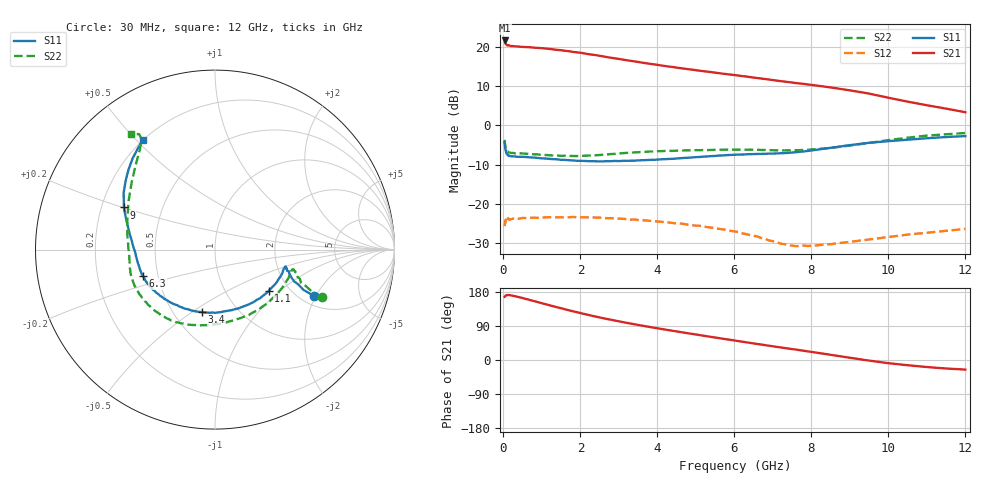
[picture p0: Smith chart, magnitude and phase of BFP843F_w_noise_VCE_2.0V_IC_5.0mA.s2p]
! Infineon Technologies  Discrete & RF Semiconductors
! BFP843F
! VCE =  2.0 V,  IC =  5.0 mA
! Common Emitter S-Parameters:  Aug 2013
# GHz  S  MA  R  50
!  f  S11  S21  S12  S22
! GHz  MAG  ANG  MAG  ANG  MAG  ANG  MAG  ANG
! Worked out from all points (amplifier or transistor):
!   103 points, 30 MHz to 12 GHz, reference 50 ohm
!   highest |S21| = 21.6 dB at 30 MHz (marker M1)
!   |S21| within 3 dB of that: start of sweep to 1.884 GHz
!   unconditionally stable (mu >= 1): 175.5 MHz to 635.6 MHz; 3.608 GHz to end of sweep
!   at 400 MHz: K = 1.01, MAG = 21.3 dB, |S12| = -23.8 dB
!   at 3.7 GHz: K = 1.01, MAG = 19.4 dB, |S12| = -24.2 dB
!   at 12 GHz: K = 1.45, MAG = 10.9 dB, |S12| = -26.4 dB
!   lowest NFmin = 0.82 dB at 450 MHz
!   S11 on the Smith chart (normalised r, x): 30 MHz: 2.35, -1.93; 1.1 GHz: 1.57, -0.85; 3.4 GHz: 0.69, -0.55; 6.3 GHz: 0.41, -0.15; 9 GHz: 0.29, +0.20; 12 GHz: 0.20, +0.52
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0.03  0.609 -25.1  12.02 166.8  0.0521 34.3  0.6527 -23.9
0.04  0.5425 -24.5  11.45 167.3  0.058 25.7  0.5844 -23.3
0.05  0.5013 -22.6  11.01 169.5  0.0573 20.4  0.5412 -21.7
0.07  0.454 -20.1  10.71 170.5  0.0593 17.2  0.5007 -19.0
0.1  0.4285 -16.4  10.41 171.1  0.0614 10.0  0.4635 -16.4
0.15  0.4102 -14.4  10.36 171.3  0.0627 8.8  0.4517 -14.2
0.7  0.3906 -25.2  9.84 158.0  0.0666 0.8  0.432 -28.6
1.1  0.3778 -37.8  9.474 147.1  0.0675 -2.1  0.4188 -43.6
1.6  0.3631 -53.4  8.882 133.8  0.0674 -4.3  0.4102 -62.7
2.1  0.3524 -68.7  8.219 121.4  0.0677 -8.3  0.4099 -80.9
2.4  0.3486 -77.2  7.823 114.5  0.067 -10.2  0.4165 -90.8
2.7  0.35 -84.8  7.353 108.0  0.0658 -12.8  0.4262 -99.1
3.4  0.3547 -101.9  6.514 94.4  0.0634 -16.6  0.4526 -114.9
4.1  0.3698 -117.3  5.775 82.0  0.0594 -20.4  0.4692 -126.8
5  0.3938 -136.0  5.03 67.3  0.0529 -23.8  0.4833 -140.7
6.1  0.4246 -156.3  4.299 49.9  0.044 -26.7  0.4908 -157.2
6.3  0.4275 -159.9  4.187 46.8  0.0413 -26.3  0.4891 -160.3
7.3  0.4431 -176.9  3.603 31.7  0.0308 -17.7  0.479 -175.3
8.5  0.5175 162.2  3.034 13.7  0.0308 4.8  0.5157 161.4
9  0.5597 155.2  2.787 5.9  0.0329 10.5  0.5525 150.6
10.5  0.6562 137.3  2.002 -13.8  0.0407 19.3  0.6967 126.9
12  0.7295 123.5  1.468 -25.3  0.0481 25.5  0.7978 126.0
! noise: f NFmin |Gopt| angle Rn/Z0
0.45  0.82  0.16  11  0.06
0.9  0.84  0.16  21  0.06
1.5  0.9  0.16  29  0.07
1.9  0.95  0.15  45  0.07
2.4  0.99  0.15  57  0.08
3.5  1.06  0.17  86  0.13
5.5  1.18  0.17  152  0.19
10  1.9  0.38  -124  0.23
